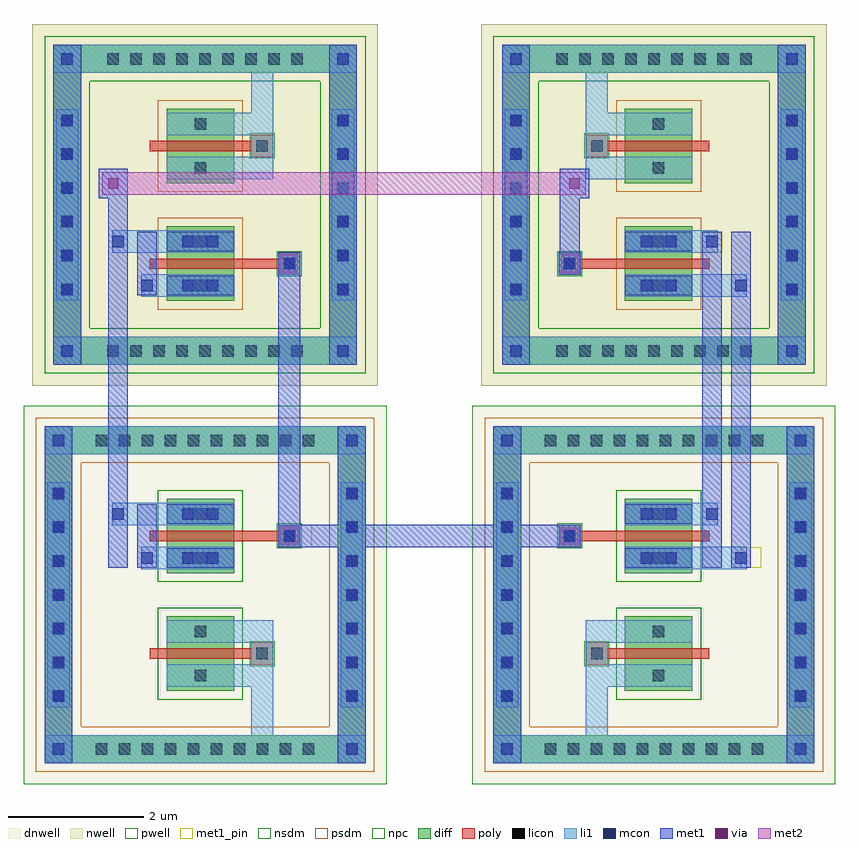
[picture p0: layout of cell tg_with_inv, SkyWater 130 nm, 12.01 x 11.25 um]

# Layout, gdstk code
from math import pi, radians
import gdstk
lib = gdstk.Library(unit=1e-6, precision=5e-09)
def R(c, l, rs):  # rectangles x0, y0, x1, y1
    for r in rs: c.add(gdstk.rectangle(r[:2], r[2:], *l))
def A(c, l, x, y, w, h, nx, ny, dx, dy):  # array of equal rectangles
    R(c, l, [(x+i*dx, y+j*dy, x+i*dx+w, y+j*dy+h) for i in range(nx) for j in range(ny)])
def P(c, l, *ps):  # polygons
    for p in ps: c.add(gdstk.Polygon(p, *l))
dnwell = (64, 18)
nwell = (64, 20)
pwell = (64, 44)
diff = (65, 20)
poly = (66, 20)
licon = (66, 44)
li1 = (67, 20)
mcon = (67, 44)
met1_pin = (68, 16)
met1 = (68, 20)
via = (68, 44)
met2 = (69, 20)
nsdm = (93, 44)
psdm = (94, 20)
npc = (95, 20)

unnamed_592a1422 = lib.new_cell('Unnamed_592a1422')
R(unnamed_592a1422, nwell, [(-2.675,-2.555,2.675,2.555)])
A(unnamed_592a1422, diff, -1.455, -2.245, 0.41, 0.41, 6, 2, 0.5, 4.08)
A(unnamed_592a1422, diff, -2.365, -1.565, 0.41, 0.41, 1, 9, 0, 0.34)
A(unnamed_592a1422, diff, 1.955, -1.565, 0.41, 0.41, 1, 9, 0, 0.34)
R(unnamed_592a1422, diff, [(-1.455,-2.245,1.455,-1.835), (-2.365,-1.565,-1.955,1.565), (1.955,-1.565,2.365,1.565), (-1.42,-0.43,-0.32,0.57), (0.32,-0.43,1.42,0.57), (-1.455,1.835,1.455,2.245)])
P(unnamed_592a1422, diff, [(2.365,2.245),(-2.365,2.245),(-2.365,-1.835),(-1.955,-1.835),(-1.955,1.835),(1.955,1.835),(1.955,-1.835),(-1.955,-1.835),(-2.365,-1.835),(-2.365,-2.245),(2.365,-2.245)])
R(unnamed_592a1422, poly, [(0.705,-1.41,1.035,-1.08), (0.705,-1.41,1.035,-1.08), (0.795,-1.08,0.945,-0.68), (-1.035,-1.01,-0.705,-0.68), (-1.035,-1.01,-0.705,-0.68), (-0.945,-0.68,-0.795,0.82), (0.795,-0.68,0.945,0.82)])
A(unnamed_592a1422, licon, -1.335, -2.125, 0.17, 0.17, 6, 2, 0.5, 4.08)
A(unnamed_592a1422, licon, -2.245, -1.445, 0.17, 0.17, 1, 9, 0, 0.34)
A(unnamed_592a1422, licon, 2.075, -1.445, 0.17, 0.17, 1, 9, 0, 0.34)
R(unnamed_592a1422, licon, [(0.785,-1.33,0.955,-1.16), (-0.955,-0.93,-0.785,-0.76), (-1.28,-0.015,-1.11,0.155), (-0.63,-0.015,-0.46,0.155), (0.46,-0.015,0.63,0.155), (1.11,-0.015,1.28,0.155)])
A(unnamed_592a1422, li1, -1.415, -2.205, 0.33, 0.33, 6, 2, 0.5, 4.08)
A(unnamed_592a1422, li1, -2.325, -1.525, 0.33, 0.33, 1, 9, 0, 0.34)
A(unnamed_592a1422, li1, 1.995, -1.525, 0.33, 0.33, 1, 9, 0, 0.34)
R(unnamed_592a1422, li1, [(-2.365,-2.245,-1.955,-1.835), (1.955,-2.245,2.365,-1.835), (-1.415,-2.205,1.415,-1.875), (-2.245,-2.125,-2.075,-1.955), (-2.245,-2.125,-2.075,-1.955), (2.075,-2.125,2.245,-1.955), (2.075,-2.125,2.245,-1.955), (-2.365,-1.835,-1.955,1.835), (1.955,-1.835,2.365,1.835), (0.705,-1.41,1.035,-1.08), (-2.365,-1.01,-1.035,-0.68), (-1.36,-1.01,-1.035,-0.68), (-1.36,-1.01,-1.03,-0.43), (-1.035,-1.01,-0.705,-0.68), (-0.71,-1.01,-0.38,-0.43), (-0.705,-1.01,-0.38,-0.68), (-1.36,-0.43,-1.03,0.57), (-0.71,-0.43,-0.38,0.57), (0.38,-0.43,0.71,0.57), (1.03,-0.43,1.36,0.57), (0.46,-0.195,0.63,-0.025), (0.46,-0.195,0.63,0.335), (1.11,-0.195,1.28,-0.025), (1.11,-0.195,1.28,0.335), (-1.36,-0.095,-1.03,0.235), (-0.71,-0.095,-0.38,0.235), (0.38,-0.095,0.71,0.235), (1.03,-0.095,1.36,0.235), (0.46,0.165,0.63,0.335), (1.11,0.165,1.28,0.335), (0.38,0.57,0.71,0.945), (1.03,0.57,1.36,1.375), (0.46,0.775,0.63,0.945), (1.11,1.205,1.28,1.375), (-2.365,1.835,-1.955,2.245), (1.955,1.835,2.365,2.245), (-1.415,1.875,1.415,2.205), (-2.245,1.955,-2.075,2.125), (-2.245,1.955,-2.075,2.125), (2.075,1.955,2.245,2.125), (2.075,1.955,2.245,2.125)])
A(unnamed_592a1422, mcon, -1.335, -2.125, 0.17, 0.17, 6, 2, 0.5, 4.08)
R(unnamed_592a1422, mcon, [(-2.245,-2.125,-2.075,-1.955), (2.075,-2.125,2.245,-1.955), (0.785,-1.33,0.955,-1.16), (0.46,-0.195,0.63,-0.025), (1.11,-0.195,1.28,-0.025), (0.46,0.165,0.63,0.335), (1.11,0.165,1.28,0.335), (0.46,0.775,0.63,0.945), (1.11,1.205,1.28,1.375), (-2.245,1.955,-2.075,2.125), (2.075,1.955,2.245,2.125)])
A(unnamed_592a1422, met1, -1.395, -2.185, 0.29, 0.29, 6, 2, 0.5, 4.08)
R(unnamed_592a1422, met1, [(-2.365,-2.245,-1.955,-1.835), (-2.365,-2.245,-1.955,-1.835), (-1.955,-2.245,1.955,-1.835), (1.955,-2.245,2.365,-1.835), (1.955,-2.245,2.365,-1.835), (-2.305,-2.185,-2.015,-1.895), (2.015,-2.185,2.305,-1.895), (0.705,-1.41,1.035,-1.08), (0.725,-1.39,1.015,-1.1), (0.4,-0.43,0.69,0.57), (1.05,-0.43,1.34,0.57), (0.4,-0.255,0.69,0.035), (1.05,-0.255,1.34,0.035), (0.4,0.105,0.69,0.395), (1.05,0.105,1.34,0.395), (0.4,0.715,0.69,1.005), (0.4,0.715,1.34,1.005), (0.4,1.145,1.34,1.435), (1.05,1.145,1.34,1.435), (-2.365,1.835,-1.955,2.245), (-2.365,1.835,-1.955,2.245), (-1.955,1.835,1.955,2.245), (1.955,1.835,2.365,2.245), (1.955,1.835,2.365,2.245), (-2.305,1.895,-2.015,2.185), (2.015,1.895,2.305,2.185)])
P(unnamed_592a1422, nsdm, [(2.495,2.375),(-2.495,2.375),(-2.495,-1.705),(-1.825,-1.705),(-1.825,1.705),(1.825,1.705),(1.825,-1.705),(-1.825,-1.705),(-2.495,-1.705),(-2.495,-2.375),(2.495,-2.375)])
R(unnamed_592a1422, psdm, [(-1.55,-0.56,-0.19,0.7), (0.19,-0.56,1.55,0.7)])
R(unnamed_592a1422, npc, [(0.685,-1.43,1.055,-1.06), (-1.055,-1.03,-0.685,-0.66)])

unnamed_1ca6dbed = lib.new_cell('Unnamed_1ca6dbed')
R(unnamed_1ca6dbed, dnwell, [(-2.8,-2.685,2.8,2.685)])
R(unnamed_1ca6dbed, pwell, [(-2.8,-2.685,2.8,2.685)])
A(unnamed_1ca6dbed, diff, -1.705, -2.375, 0.41, 0.41, 7, 2, 0.5, 4.34)
A(unnamed_1ca6dbed, diff, -2.49, -1.735, 0.41, 0.41, 1, 10, 0, 0.34)
A(unnamed_1ca6dbed, diff, 2.08, -1.735, 0.41, 0.41, 1, 10, 0, 0.34)
R(unnamed_1ca6dbed, diff, [(-1.705,-2.375,1.705,-1.965), (-2.49,-1.735,-2.08,1.735), (2.08,-1.735,2.49,1.735), (-1.42,-0.43,-0.32,0.57), (0.32,-0.43,1.42,0.57), (-1.705,1.965,1.705,2.375)])
P(unnamed_1ca6dbed, diff, [(2.49,2.375),(-2.49,2.375),(-2.49,-1.965),(-2.08,-1.965),(-2.08,1.965),(2.08,1.965),(2.08,-1.965),(-2.08,-1.965),(-2.49,-1.965),(-2.49,-2.375),(2.49,-2.375)])
R(unnamed_1ca6dbed, poly, [(-1.035,-1.41,-0.705,-1.08), (-1.035,-1.41,-0.705,-1.08), (-0.945,-1.08,-0.795,-0.68), (0.705,-1.01,1.035,-0.68), (0.705,-1.01,1.035,-0.68), (-0.945,-0.68,-0.795,0.82), (0.795,-0.68,0.945,0.82)])
A(unnamed_1ca6dbed, licon, -1.585, -2.255, 0.17, 0.17, 7, 2, 0.5, 4.34)
A(unnamed_1ca6dbed, licon, -2.37, -1.615, 0.17, 0.17, 1, 10, 0, 0.34)
A(unnamed_1ca6dbed, licon, 2.2, -1.615, 0.17, 0.17, 1, 10, 0, 0.34)
R(unnamed_1ca6dbed, licon, [(-0.955,-1.33,-0.785,-1.16), (0.785,-0.93,0.955,-0.76), (-1.28,-0.015,-1.11,0.155), (-0.63,-0.015,-0.46,0.155), (0.46,-0.015,0.63,0.155), (1.11,-0.015,1.28,0.155)])
A(unnamed_1ca6dbed, li1, -1.665, -2.335, 0.33, 0.33, 7, 2, 0.5, 4.34)
A(unnamed_1ca6dbed, li1, -2.45, -1.695, 0.33, 0.33, 1, 10, 0, 0.34)
A(unnamed_1ca6dbed, li1, 2.12, -1.695, 0.33, 0.33, 1, 10, 0, 0.34)
R(unnamed_1ca6dbed, li1, [(-2.49,-2.375,-2.08,-1.965), (2.08,-2.375,2.49,-1.965), (-1.665,-2.335,1.665,-2.005), (-2.37,-2.255,-2.2,-2.085), (-2.37,-2.255,-2.2,-2.085), (2.2,-2.255,2.37,-2.085), (2.2,-2.255,2.37,-2.085), (-2.49,-1.965,-2.08,1.965), (2.08,-1.965,2.49,1.965), (-1.035,-1.41,-0.705,-1.08), (0.38,-1.01,0.705,-0.68), (0.38,-1.01,0.71,-0.43), (0.705,-1.01,1.035,-0.68), (0.705,-1.01,2.49,-0.68), (1.03,-1.01,1.36,-0.43), (1.035,-1.01,1.36,-0.68), (-1.36,-0.43,-1.03,0.57), (-0.71,-0.43,-0.38,0.57), (0.38,-0.43,0.71,0.57), (1.03,-0.43,1.36,0.57), (-1.28,-0.195,-1.11,-0.025), (-1.28,-0.195,-1.11,0.335), (-0.63,-0.195,-0.46,-0.025), (-0.63,-0.195,-0.46,0.335), (-1.36,-0.095,-1.03,0.235), (-0.71,-0.095,-0.38,0.235), (0.38,-0.095,0.71,0.235), (1.03,-0.095,1.36,0.235), (-1.28,0.165,-1.11,0.335), (-0.63,0.165,-0.46,0.335), (-1.36,0.57,-1.03,0.945), (-0.71,0.57,-0.38,1.375), (-1.28,0.775,-1.11,0.945), (-0.63,1.205,-0.46,1.375), (-2.49,1.965,-2.08,2.375), (2.08,1.965,2.49,2.375), (-1.665,2.005,1.665,2.335), (-2.37,2.085,-2.2,2.255), (-2.37,2.085,-2.2,2.255), (2.2,2.085,2.37,2.255), (2.2,2.085,2.37,2.255)])
A(unnamed_1ca6dbed, mcon, -1.585, -2.255, 0.17, 0.17, 7, 2, 0.5, 4.34)
R(unnamed_1ca6dbed, mcon, [(-2.37,-2.255,-2.2,-2.085), (2.2,-2.255,2.37,-2.085), (-0.955,-1.33,-0.785,-1.16), (-1.28,-0.195,-1.11,-0.025), (-0.63,-0.195,-0.46,-0.025), (-1.28,0.165,-1.11,0.335), (-0.63,0.165,-0.46,0.335), (-1.28,0.775,-1.11,0.945), (-0.63,1.205,-0.46,1.375), (-2.37,2.085,-2.2,2.255), (2.2,2.085,2.37,2.255)])
A(unnamed_1ca6dbed, met1, -1.645, -2.315, 0.29, 0.29, 7, 2, 0.5, 4.34)
R(unnamed_1ca6dbed, met1, [(-2.49,-2.375,-2.08,-1.965), (-2.49,-2.375,-2.08,-1.965), (-2.08,-2.375,2.08,-1.965), (2.08,-2.375,2.49,-1.965), (2.08,-2.375,2.49,-1.965), (-2.43,-2.315,-2.14,-2.025), (2.14,-2.315,2.43,-2.025), (-1.035,-1.41,-0.705,-1.08), (-1.015,-1.39,-0.725,-1.1), (-1.34,-0.43,-1.05,0.57), (-0.69,-0.43,-0.4,0.57), (-1.34,-0.255,-1.05,0.035), (-0.69,-0.255,-0.4,0.035), (-1.34,0.105,-1.05,0.395), (-0.69,0.105,-0.4,0.395), (-1.34,0.715,-1.05,1.005), (-1.34,0.715,-0.4,1.005), (-1.34,1.145,-0.4,1.435), (-0.69,1.145,-0.4,1.435), (-2.49,1.965,-2.08,2.375), (-2.49,1.965,-2.08,2.375), (-2.08,1.965,2.08,2.375), (2.08,1.965,2.49,2.375), (2.08,1.965,2.49,2.375), (-2.43,2.025,-2.14,2.315), (2.14,2.025,2.43,2.315)])
R(unnamed_1ca6dbed, nsdm, [(-1.55,-0.56,-0.19,0.7), (0.19,-0.56,1.55,0.7)])
P(unnamed_1ca6dbed, psdm, [(2.62,2.505),(-2.62,2.505),(-2.62,-1.835),(-1.95,-1.835),(-1.95,1.835),(1.95,1.835),(1.95,-1.835),(-1.95,-1.835),(-2.62,-1.835),(-2.62,-2.505),(2.62,-2.505)])
R(unnamed_1ca6dbed, npc, [(-1.055,-1.43,-0.685,-1.06), (0.685,-1.03,1.055,-0.66)])

straight_route_064b5e58 = lib.new_cell('straight_route_064b5e58')
R(straight_route_064b5e58, met1, [(0.715,0.4,1.005,4.43)])

straight_route_0f1adc64 = lib.new_cell('straight_route_0f1adc64')
R(straight_route_0f1adc64, met1, [(1.145,0.4,1.435,5.37)])

c_tg = lib.new_cell('TG')
c_tg.add(gdstk.Reference(unnamed_592a1422, (0,5.77), rotation=3*pi/2))
c_tg.add(gdstk.Reference(unnamed_1ca6dbed, (0,0), rotation=3*pi/2))
c_tg.add(gdstk.Reference(straight_route_064b5e58, (0,0)))
c_tg.add(gdstk.Reference(straight_route_0f1adc64, (0,0)))

unnamed_97c5365b = lib.new_cell('Unnamed_97c5365b')
R(unnamed_97c5365b, nwell, [(-2.675,-2.555,2.675,2.555)])
A(unnamed_97c5365b, diff, -1.455, -2.245, 0.41, 0.41, 6, 2, 0.5, 4.08)
A(unnamed_97c5365b, diff, -2.365, -1.565, 0.41, 0.41, 1, 9, 0, 0.34)
A(unnamed_97c5365b, diff, 1.955, -1.565, 0.41, 0.41, 1, 9, 0, 0.34)
R(unnamed_97c5365b, diff, [(-1.455,-2.245,1.455,-1.835), (-2.365,-1.565,-1.955,1.565), (1.955,-1.565,2.365,1.565), (-1.42,-0.43,-0.32,0.57), (0.32,-0.43,1.42,0.57), (-1.455,1.835,1.455,2.245)])
P(unnamed_97c5365b, diff, [(2.365,2.245),(-2.365,2.245),(-2.365,-1.835),(-1.955,-1.835),(-1.955,1.835),(1.955,1.835),(1.955,-1.835),(-1.955,-1.835),(-2.365,-1.835),(-2.365,-2.245),(2.365,-2.245)])
R(unnamed_97c5365b, poly, [(-1.035,-1.41,-0.705,-1.08), (-1.035,-1.41,-0.705,-1.08), (-0.945,-1.08,-0.795,-0.68), (0.705,-1.01,1.035,-0.68), (0.705,-1.01,1.035,-0.68), (-0.945,-0.68,-0.795,0.82), (0.795,-0.68,0.945,0.82)])
A(unnamed_97c5365b, licon, -1.335, -2.125, 0.17, 0.17, 6, 2, 0.5, 4.08)
A(unnamed_97c5365b, licon, -2.245, -1.445, 0.17, 0.17, 1, 9, 0, 0.34)
A(unnamed_97c5365b, licon, 2.075, -1.445, 0.17, 0.17, 1, 9, 0, 0.34)
R(unnamed_97c5365b, licon, [(-0.955,-1.33,-0.785,-1.16), (0.785,-0.93,0.955,-0.76), (-1.28,-0.015,-1.11,0.155), (-0.63,-0.015,-0.46,0.155), (0.46,-0.015,0.63,0.155), (1.11,-0.015,1.28,0.155)])
A(unnamed_97c5365b, li1, -1.415, -2.205, 0.33, 0.33, 6, 2, 0.5, 4.08)
A(unnamed_97c5365b, li1, -2.325, -1.525, 0.33, 0.33, 1, 9, 0, 0.34)
A(unnamed_97c5365b, li1, 1.995, -1.525, 0.33, 0.33, 1, 9, 0, 0.34)
R(unnamed_97c5365b, li1, [(-2.365,-2.245,-1.955,-1.835), (1.955,-2.245,2.365,-1.835), (-1.415,-2.205,1.415,-1.875), (-2.245,-2.125,-2.075,-1.955), (-2.245,-2.125,-2.075,-1.955), (2.075,-2.125,2.245,-1.955), (2.075,-2.125,2.245,-1.955), (-2.365,-1.835,-1.955,1.835), (1.955,-1.835,2.365,1.835), (-1.035,-1.41,-0.705,-1.08), (0.38,-1.01,0.705,-0.68), (0.38,-1.01,0.71,-0.43), (0.705,-1.01,1.035,-0.68), (0.705,-1.01,2.365,-0.68), (1.03,-1.01,1.36,-0.43), (1.035,-1.01,1.36,-0.68), (-1.36,-0.43,-1.03,0.57), (-0.71,-0.43,-0.38,0.57), (0.38,-0.43,0.71,0.57), (1.03,-0.43,1.36,0.57), (-1.28,-0.195,-1.11,-0.025), (-1.28,-0.195,-1.11,0.335), (-0.63,-0.195,-0.46,-0.025), (-0.63,-0.195,-0.46,0.335), (-1.36,-0.095,-1.03,0.235), (-0.71,-0.095,-0.38,0.235), (0.38,-0.095,0.71,0.235), (1.03,-0.095,1.36,0.235), (-1.28,0.165,-1.11,0.335), (-0.63,0.165,-0.46,0.335), (-1.36,0.57,-1.03,0.945), (-0.71,0.57,-0.38,1.375), (-1.28,0.775,-1.11,0.945), (-0.63,1.205,-0.46,1.375), (-2.365,1.835,-1.955,2.245), (1.955,1.835,2.365,2.245), (-1.415,1.875,1.415,2.205), (-2.245,1.955,-2.075,2.125), (-2.245,1.955,-2.075,2.125), (2.075,1.955,2.245,2.125), (2.075,1.955,2.245,2.125)])
A(unnamed_97c5365b, mcon, -1.335, -2.125, 0.17, 0.17, 6, 2, 0.5, 4.08)
R(unnamed_97c5365b, mcon, [(-2.245,-2.125,-2.075,-1.955), (2.075,-2.125,2.245,-1.955), (-0.955,-1.33,-0.785,-1.16), (-1.28,-0.195,-1.11,-0.025), (-0.63,-0.195,-0.46,-0.025), (-1.28,0.165,-1.11,0.335), (-0.63,0.165,-0.46,0.335), (-1.28,0.775,-1.11,0.945), (-0.63,1.205,-0.46,1.375), (-2.245,1.955,-2.075,2.125), (2.075,1.955,2.245,2.125)])
A(unnamed_97c5365b, met1, -1.395, -2.185, 0.29, 0.29, 6, 2, 0.5, 4.08)
R(unnamed_97c5365b, met1, [(-2.365,-2.245,-1.955,-1.835), (-2.365,-2.245,-1.955,-1.835), (-1.955,-2.245,1.955,-1.835), (1.955,-2.245,2.365,-1.835), (1.955,-2.245,2.365,-1.835), (-2.305,-2.185,-2.015,-1.895), (2.015,-2.185,2.305,-1.895), (-1.035,-1.41,-0.705,-1.08), (-1.015,-1.39,-0.725,-1.1), (-1.34,-0.43,-1.05,0.57), (-0.69,-0.43,-0.4,0.57), (-1.34,-0.255,-1.05,0.035), (-0.69,-0.255,-0.4,0.035), (-1.34,0.105,-1.05,0.395), (-0.69,0.105,-0.4,0.395), (-1.34,0.715,-1.05,1.005), (-1.34,0.715,-0.4,1.005), (-1.34,1.145,-0.4,1.435), (-0.69,1.145,-0.4,1.435), (-2.365,1.835,-1.955,2.245), (-2.365,1.835,-1.955,2.245), (-1.955,1.835,1.955,2.245), (1.955,1.835,2.365,2.245), (1.955,1.835,2.365,2.245), (-2.305,1.895,-2.015,2.185), (2.015,1.895,2.305,2.185)])
P(unnamed_97c5365b, nsdm, [(2.495,2.375),(-2.495,2.375),(-2.495,-1.705),(-1.825,-1.705),(-1.825,1.705),(1.825,1.705),(1.825,-1.705),(-1.825,-1.705),(-2.495,-1.705),(-2.495,-2.375),(2.495,-2.375)])
R(unnamed_97c5365b, psdm, [(-1.55,-0.56,-0.19,0.7), (0.19,-0.56,1.55,0.7)])
R(unnamed_97c5365b, npc, [(-1.055,-1.43,-0.685,-1.06), (0.685,-1.03,1.055,-0.66)])

unnamed_143613cf = lib.new_cell('Unnamed_143613cf')
R(unnamed_143613cf, dnwell, [(-2.8,-2.685,2.8,2.685)])
R(unnamed_143613cf, pwell, [(-2.8,-2.685,2.8,2.685)])
A(unnamed_143613cf, diff, -1.705, -2.375, 0.41, 0.41, 7, 2, 0.5, 4.34)
A(unnamed_143613cf, diff, -2.49, -1.735, 0.41, 0.41, 1, 10, 0, 0.34)
A(unnamed_143613cf, diff, 2.08, -1.735, 0.41, 0.41, 1, 10, 0, 0.34)
R(unnamed_143613cf, diff, [(-1.705,-2.375,1.705,-1.965), (-2.49,-1.735,-2.08,1.735), (2.08,-1.735,2.49,1.735), (-1.42,-0.43,-0.32,0.57), (0.32,-0.43,1.42,0.57), (-1.705,1.965,1.705,2.375)])
P(unnamed_143613cf, diff, [(2.49,2.375),(-2.49,2.375),(-2.49,-1.965),(-2.08,-1.965),(-2.08,1.965),(2.08,1.965),(2.08,-1.965),(-2.08,-1.965),(-2.49,-1.965),(-2.49,-2.375),(2.49,-2.375)])
R(unnamed_143613cf, poly, [(0.705,-1.41,1.035,-1.08), (0.705,-1.41,1.035,-1.08), (0.795,-1.08,0.945,-0.68), (-1.035,-1.01,-0.705,-0.68), (-1.035,-1.01,-0.705,-0.68), (-0.945,-0.68,-0.795,0.82), (0.795,-0.68,0.945,0.82)])
A(unnamed_143613cf, licon, -1.585, -2.255, 0.17, 0.17, 7, 2, 0.5, 4.34)
A(unnamed_143613cf, licon, -2.37, -1.615, 0.17, 0.17, 1, 10, 0, 0.34)
A(unnamed_143613cf, licon, 2.2, -1.615, 0.17, 0.17, 1, 10, 0, 0.34)
R(unnamed_143613cf, licon, [(0.785,-1.33,0.955,-1.16), (-0.955,-0.93,-0.785,-0.76), (-1.28,-0.015,-1.11,0.155), (-0.63,-0.015,-0.46,0.155), (0.46,-0.015,0.63,0.155), (1.11,-0.015,1.28,0.155)])
A(unnamed_143613cf, li1, -1.665, -2.335, 0.33, 0.33, 7, 2, 0.5, 4.34)
A(unnamed_143613cf, li1, -2.45, -1.695, 0.33, 0.33, 1, 10, 0, 0.34)
A(unnamed_143613cf, li1, 2.12, -1.695, 0.33, 0.33, 1, 10, 0, 0.34)
R(unnamed_143613cf, li1, [(-2.49,-2.375,-2.08,-1.965), (2.08,-2.375,2.49,-1.965), (-1.665,-2.335,1.665,-2.005), (-2.37,-2.255,-2.2,-2.085), (-2.37,-2.255,-2.2,-2.085), (2.2,-2.255,2.37,-2.085), (2.2,-2.255,2.37,-2.085), (-2.49,-1.965,-2.08,1.965), (2.08,-1.965,2.49,1.965), (0.705,-1.41,1.035,-1.08), (-2.49,-1.01,-1.035,-0.68), (-1.36,-1.01,-1.035,-0.68), (-1.36,-1.01,-1.03,-0.43), (-1.035,-1.01,-0.705,-0.68), (-0.71,-1.01,-0.38,-0.43), (-0.705,-1.01,-0.38,-0.68), (-1.36,-0.43,-1.03,0.57), (-0.71,-0.43,-0.38,0.57), (0.38,-0.43,0.71,0.57), (1.03,-0.43,1.36,0.57), (0.46,-0.195,0.63,-0.025), (0.46,-0.195,0.63,0.335), (1.11,-0.195,1.28,-0.025), (1.11,-0.195,1.28,0.335), (-1.36,-0.095,-1.03,0.235), (-0.71,-0.095,-0.38,0.235), (0.38,-0.095,0.71,0.235), (1.03,-0.095,1.36,0.235), (0.46,0.165,0.63,0.335), (1.11,0.165,1.28,0.335), (0.38,0.57,0.71,0.945), (1.03,0.57,1.36,1.375), (0.46,0.775,0.63,0.945), (1.11,1.205,1.28,1.375), (-2.49,1.965,-2.08,2.375), (2.08,1.965,2.49,2.375), (-1.665,2.005,1.665,2.335), (-2.37,2.085,-2.2,2.255), (-2.37,2.085,-2.2,2.255), (2.2,2.085,2.37,2.255), (2.2,2.085,2.37,2.255)])
A(unnamed_143613cf, mcon, -1.585, -2.255, 0.17, 0.17, 7, 2, 0.5, 4.34)
R(unnamed_143613cf, mcon, [(-2.37,-2.255,-2.2,-2.085), (2.2,-2.255,2.37,-2.085), (0.785,-1.33,0.955,-1.16), (0.46,-0.195,0.63,-0.025), (1.11,-0.195,1.28,-0.025), (0.46,0.165,0.63,0.335), (1.11,0.165,1.28,0.335), (0.46,0.775,0.63,0.945), (1.11,1.205,1.28,1.375), (-2.37,2.085,-2.2,2.255), (2.2,2.085,2.37,2.255)])
A(unnamed_143613cf, met1, -1.645, -2.315, 0.29, 0.29, 7, 2, 0.5, 4.34)
R(unnamed_143613cf, met1, [(-2.49,-2.375,-2.08,-1.965), (-2.49,-2.375,-2.08,-1.965), (-2.08,-2.375,2.08,-1.965), (2.08,-2.375,2.49,-1.965), (2.08,-2.375,2.49,-1.965), (-2.43,-2.315,-2.14,-2.025), (2.14,-2.315,2.43,-2.025), (0.705,-1.41,1.035,-1.08), (0.725,-1.39,1.015,-1.1), (0.4,-0.43,0.69,0.57), (1.05,-0.43,1.34,0.57), (0.4,-0.255,0.69,0.035), (1.05,-0.255,1.34,0.035), (0.4,0.105,0.69,0.395), (1.05,0.105,1.34,0.395), (0.4,0.715,0.69,1.005), (0.4,0.715,1.34,1.005), (0.4,1.145,1.34,1.435), (1.05,1.145,1.34,1.435), (-2.49,1.965,-2.08,2.375), (-2.49,1.965,-2.08,2.375), (-2.08,1.965,2.08,2.375), (2.08,1.965,2.49,2.375), (2.08,1.965,2.49,2.375), (-2.43,2.025,-2.14,2.315), (2.14,2.025,2.43,2.315)])
R(unnamed_143613cf, nsdm, [(-1.55,-0.56,-0.19,0.7), (0.19,-0.56,1.55,0.7)])
P(unnamed_143613cf, psdm, [(2.62,2.505),(-2.62,2.505),(-2.62,-1.835),(-1.95,-1.835),(-1.95,1.835),(1.95,1.835),(1.95,-1.835),(-1.95,-1.835),(-2.62,-1.835),(-2.62,-2.505),(2.62,-2.505)])
R(unnamed_143613cf, npc, [(0.685,-1.43,1.055,-1.06), (-1.055,-1.03,-0.685,-0.66)])

straight_route_9452faca = lib.new_cell('straight_route_9452faca')
R(straight_route_9452faca, met1, [(-1.435,1.34,-1.145,5.37)])

straight_route_84c2c18b = lib.new_cell('straight_route_84c2c18b')
R(straight_route_84c2c18b, met1, [(1.08,0.705,1.41,4.735)])

gate_ctrl_inv = lib.new_cell('gate_ctrl_inv')
gate_ctrl_inv.add(gdstk.Reference(unnamed_97c5365b, (0,5.77), rotation=pi/2))
gate_ctrl_inv.add(gdstk.Reference(unnamed_143613cf, (0,0), rotation=pi/2))
gate_ctrl_inv.add(gdstk.Reference(straight_route_9452faca, (0,0)))
gate_ctrl_inv.add(gdstk.Reference(straight_route_84c2c18b, (0,0)))

c_route_7cea69d7 = lib.new_cell('c_route_7cea69d7')
R(c_route_7cea69d7, met1, [(5.25,2.245,5.54,3.48), (-1.435,2.55,-1.145,3.48), (-1.575,3.05,-1.145,3.48), (5.25,3.05,5.68,3.48)])
R(c_route_7cea69d7, via, [(-1.435,3.19,-1.285,3.34), (5.39,3.19,5.54,3.34)])
R(c_route_7cea69d7, met2, [(-1.525,3.1,-1.195,3.43), (-1.525,3.1,5.63,3.43), (5.3,3.1,5.63,3.43)])
P(c_route_7cea69d7, met2, [(-1.525,3.43),(-1.195,3.43),(-1.195,3.43),(-1.525,3.43)],
  [(5.3,3.43),(5.63,3.43),(5.63,3.43),(5.3,3.43)])

straight_route_8de5a239 = lib.new_cell('straight_route_8de5a239')
R(straight_route_8de5a239, met1, [(1.41,-2.115,5.23,-1.785)])

compass_8d5286b3 = lib.new_cell('compass_8d5286b3')
R(compass_8d5286b3, met1_pin, [(-0.165,-0.165,0.165,0.165)])

unnamed_1d0dbdfb = lib.new_cell('Unnamed_1d0dbdfb')
unnamed_1d0dbdfb.add(gdstk.Reference(compass_8d5286b3, (0,0)))
unnamed_1d0dbdfb.add(gdstk.Label('ctrl', (0,0), layer=68, texttype=5))

compass_781fcec2 = lib.new_cell('compass_781fcec2')
R(compass_781fcec2, met1_pin, [(-0.15,-0.15,0.15,0.15)])

unnamed_588fba40 = lib.new_cell('Unnamed_588fba40')
unnamed_588fba40.add(gdstk.Reference(compass_781fcec2, (0,0)))
unnamed_588fba40.add(gdstk.Label('din', (0,0), layer=68, texttype=5))

compass_781fcec2_1 = lib.new_cell('compass_781fcec2$1')
R(compass_781fcec2_1, met1_pin, [(-0.15,-0.15,0.15,0.15)])

unnamed_a3473a00 = lib.new_cell('Unnamed_a3473a00')
unnamed_a3473a00.add(gdstk.Reference(compass_781fcec2_1, (0,0)))
unnamed_a3473a00.add(gdstk.Label('dout', (0,0), layer=68, texttype=5))

tg_with_inv = lib.new_cell('tg_with_inv')
tg_with_inv.add(gdstk.Reference(c_tg, (6.64,-2.82)))
tg_with_inv.add(gdstk.Reference(gate_ctrl_inv, (0,-2.82)))
tg_with_inv.add(gdstk.Reference(c_route_7cea69d7, (0,0)))
tg_with_inv.add(gdstk.Reference(straight_route_8de5a239, (0,0)))
tg_with_inv.add(gdstk.Reference(unnamed_1d0dbdfb, (1.41,-1.95)))
tg_with_inv.add(gdstk.Reference(unnamed_588fba40, (7.5,2.4)))
tg_with_inv.add(gdstk.Reference(unnamed_a3473a00, (8.075,-2.27)))

lib.write_gds('tg_with_inv.gds')
